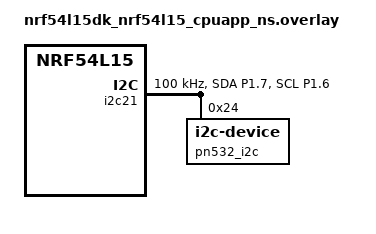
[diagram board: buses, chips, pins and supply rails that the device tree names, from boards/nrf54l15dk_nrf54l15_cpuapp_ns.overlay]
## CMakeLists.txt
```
cmake_minimum_required(VERSION 3.20.0)

# Use J-Link for flashing by default to avoid nrfutil-device runtime crash
# seen on some Windows setups with the nRF54L15 DK.
set(BOARD_FLASH_RUNNER jlink)

# Register project-local board root so west finds boards/.
list(APPEND BOARD_ROOT ${CMAKE_CURRENT_SOURCE_DIR})

find_package(Zephyr REQUIRED HINTS $ENV{ZEPHYR_BASE})

project(BLE-NFC-EMULATOR LANGUAGES C CXX)

# Enforce C++11 for all C++ sources.
set(CMAKE_CXX_STANDARD 11)
set(CMAKE_CXX_STANDARD_REQUIRED ON)

# ---- Sources -----------------------------------------------------------------
target_sources(app PRIVATE
  src/main.cpp
  src/zbus_channels.c
)

# Application + middleware pipeline (tag manager, BLE peripheral).
if(CONFIG_INCLUDE_APP_PIPELINE)
  target_sources(app PRIVATE
    src/modules/app/tag_manager.cpp
  )

  if(CONFIG_BT)
    target_sources(app PRIVATE
      src/modules/middleware/ble_peripheral.cpp
    )
  endif()
endif()

# PN532 NFC reader driver.
if(CONFIG_NFC_PN532)
  target_sources(app PRIVATE src/modules/drivers/pn532/nfc_reader_pn532.cpp)
endif()

# Optional bring-up helpers.
if(CONFIG_NFC_TEST_OBSERVER)
  target_sources(app PRIVATE src/modules/app/nfc_event_probe.cpp)
endif()

if(CONFIG_I2C_SCANNER_ON_BOOT)
  target_sources(app PRIVATE src/modules/app/i2c_scanner.cpp)
endif()

# Allow #include paths relative to src/.
target_include_directories(app PRIVATE src)
```

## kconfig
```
source "Kconfig.zephyr"

menu "BLE & NFC Emulator Application"

choice ENV_MODE
	prompt "BLE & NFC Emulator environment mode"
	default ENV_NFC_PN532
	help
	  Select which NFC source is compiled into the firmware.

config ENV_NFC_PN532
	bool "PN532 NFC environment"
	depends on I2C
	help
	  Use PN532 NFC publisher over I2C.

endchoice

config NFC_PN532
	bool
	default y if ENV_NFC_PN532
	help
	  Internal selector for compiling the PN532 NFC source.

config INCLUDE_APP_PIPELINE
	bool "Build application + middleware pipeline"
	default y
	help
	  Compiles tag_manager (app) and ble_peripheral (middleware, when CONFIG_BT=y).
	  Disable for driver-only / bring-up builds (e.g. prj-pn532.conf).

config PN532_POLL_PERIOD_MS
	int "PN532 polling period (ms)"
	depends on NFC_PN532
	range 20 2000
	default 120
	help
	  Delay between PN532 polling rounds.

config PN532_PUBLISH_TIMEOUT_MS
	int "PN532 zbus publish timeout (ms)"
	depends on NFC_PN532
	range 10 1000
	default 100
	help
	  Timeout used by zbus_chan_pub when sending nfc_events.

config PN532_DETECT_STREAK
	int "PN532 detect debounce samples"
	depends on NFC_PN532
	range 1 10
	default 2
	help
	  Consecutive successful UID polls required before publishing a tag
	  detected event.

config PN532_REMOVE_STREAK
	int "PN532 remove debounce samples"
	depends on NFC_PN532
	range 1 20
	default 3
	help
	  Consecutive no-tag polls required before publishing a tag removed event.

config NFC_TEST_OBSERVER
	bool "Enable NFC test observer logs"
	depends on NFC_PN532
	default n
	help
	  Adds a Zbus subscriber thread that logs compact nfc_events telemetry
	  (detect/remove, UID length, timestamp delta, UID bytes). Use during
	  NFC bring-up; disable for normal app runs.

config STRICT_UID_VERIFY
	bool "Strict UID verification in Tag Manager"
	depends on INCLUDE_APP_PIPELINE
	default n
	help
	  If enabled, Tag Manager verifies the NFC UID against TARGET_UID.
	  If disabled, any detected non-empty UID is treated as verified.

config I2C_SCANNER_ON_BOOT
	bool "Run one-shot I2C scanner during boot"
	depends on I2C
	default n
	help
	  Runs a one-shot address scanner on the configured I2C bus at startup.
	  Useful for bring-up validation on isolated test environments.

endmenu
```

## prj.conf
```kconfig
# ==============================================================================
# Full Application Profile — BLE + Zbus pipeline + PN532 NFC + RTT console
# ==============================================================================

# ------------------------------------------------------------------------------
# 1. System & Console Logging
# ------------------------------------------------------------------------------
CONFIG_LOG=y
CONFIG_LOG_DEFAULT_LEVEL=3
CONFIG_PRINTK=y
CONFIG_CBPRINTF_FP_SUPPORT=y

# RTT console (SWD is the only bridged debug interface on the DK).
CONFIG_USE_SEGGER_RTT=y
CONFIG_RTT_CONSOLE=y
CONFIG_UART_CONSOLE=n
CONFIG_LOG_BACKEND_RTT=y
CONFIG_LOG_BACKEND_UART=n
CONFIG_SEGGER_RTT_BUFFER_SIZE_UP=4096

# ------------------------------------------------------------------------------
# 2. Zbus (Event Bus)
# ------------------------------------------------------------------------------
CONFIG_ZBUS=y
CONFIG_ZBUS_LOG_LEVEL_INF=y
# Required for ZBUS_CHAN_ADD_OBS (runtime observer registration).
CONFIG_ZBUS_RUNTIME_OBSERVERS=y

# ------------------------------------------------------------------------------
# 3. Bluetooth Low Energy (BLE)
# ------------------------------------------------------------------------------
CONFIG_BT=y
CONFIG_BT_PERIPHERAL=y
CONFIG_BT_DEVICE_NAME="ble-nfc-emulator"
CONFIG_BT_MAX_CONN=1
CONFIG_BT_GATT_DYNAMIC_DB=y

# ------------------------------------------------------------------------------
# 4. NFC (PN532 over I²C)
# ------------------------------------------------------------------------------
CONFIG_ENV_NFC_PN532=y
CONFIG_I2C=y
CONFIG_I2C_NRFX_TRANSFER_TIMEOUT=10
CONFIG_GPIO=y

# ------------------------------------------------------------------------------
# 5. C++ Support
# ------------------------------------------------------------------------------
CONFIG_CPP=y
CONFIG_STD_CPP11=y
```

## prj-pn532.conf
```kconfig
# PN532 bring-up profile
CONFIG_ENV_NFC_PN532=y

# PN532 transport requirements
CONFIG_I2C=y
CONFIG_I2C_NRFX_TRANSFER_TIMEOUT=10
CONFIG_GPIO=y

# Zbus (event bus used by tag_manager / nfc_event_probe / pn532 reader)
CONFIG_ZBUS=y
CONFIG_ZBUS_RUNTIME_OBSERVERS=y

# C++ support (driver and app modules are .cpp)
CONFIG_CPP=y
CONFIG_STD_CPP11=y

# Logging — essential for bring-up on real hardware
CONFIG_LOG=y
CONFIG_LOG_DEFAULT_LEVEL=3
CONFIG_PRINTK=y
CONFIG_CBPRINTF_FP_SUPPORT=y

# Use RTT for console (SWD is the only bridged debug interface on this board).
# UART TX/RX on P1.08/P1.09 are defined in DTS but not wired to the debugger.
CONFIG_USE_SEGGER_RTT=y
CONFIG_RTT_CONSOLE=y
CONFIG_UART_CONSOLE=n
CONFIG_LOG_BACKEND_RTT=y
CONFIG_LOG_BACKEND_UART=n
CONFIG_SEGGER_RTT_BUFFER_SIZE_UP=4096

# Keep probe logs enabled in isolated mode
CONFIG_NFC_TEST_OBSERVER=y

# Run I2C scanner once at boot to confirm bus/address visibility.
CONFIG_I2C_SCANNER_ON_BOOT=y

# Keep runs responsive while still filtering poll jitter.
CONFIG_PN532_DETECT_STREAK=2
CONFIG_PN532_REMOVE_STREAK=3

# Disable unrelated external interfaces for cleaner bring-up logs
CONFIG_BT=n
```

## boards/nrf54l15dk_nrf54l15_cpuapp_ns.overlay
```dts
/*
 * PN532 I2C bring-up overlay for nRF54L15DK (cpuapp/ns).
 * Update pinctrl and bus instance to match your wiring.
 */

/ {
	aliases {
		i2c0 = &i2c21;
		pn532 = &pn532_i2c;
	};
};

&pinctrl {
	/*
	 * Default provisional mapping for PN532 I2C on DK.
	 * Adjust these pins to match your actual wiring.
	 */
	/omit-if-no-ref/ i2c21_pn532_default: i2c21_pn532_default {
		group1 {
			psels = <NRF_PSEL(TWIM_SDA, 1, 7)>,
				<NRF_PSEL(TWIM_SCL, 1, 6)>;
			bias-pull-up;
		};
	};

	/omit-if-no-ref/ i2c21_pn532_sleep: i2c21_pn532_sleep {
		group1 {
			psels = <NRF_PSEL(TWIM_SDA, 1, 7)>,
				<NRF_PSEL(TWIM_SCL, 1, 6)>;
			low-power-enable;
		};
	};
};

/*
 * TODO: adjust the bus instance (&i2c21) and pinctrl configuration according
 * to the exact DK header pins used for SDA/SCL.
 */
&i2c21 {
	compatible = "nordic,nrf-twim";
	status = "okay";
	clock-frequency = <I2C_BITRATE_STANDARD>;
	pinctrl-0 = <&i2c21_pn532_default>;
	pinctrl-1 = <&i2c21_pn532_sleep>;
	pinctrl-names = "default", "sleep";

	pn532_i2c: pn532@24 {
		compatible = "zephyr,i2c-device";
		reg = <0x24>;
		status = "okay";
	};
};
```

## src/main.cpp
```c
#include <zephyr/kernel.h>
#include <zephyr/logging/log.h>
#include <zephyr/version.h>

LOG_MODULE_REGISTER(main, CONFIG_LOG_DEFAULT_LEVEL);

int main(void)
{
	LOG_INF("=== BLE & NFC Emulator Firmware ===");
	LOG_INF("Board : %s", CONFIG_BOARD);
	LOG_INF("Zephyr: %s", KERNEL_VERSION_STRING);

	return 0;
}
```

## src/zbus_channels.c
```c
/**
 * @file zbus_channels.c
 * @brief Zbus channel definitions for BLE & NFC Emulator.
 *
 * This file owns the ZBUS_CHAN_DEFINE calls.  It is intentionally kept as
 * plain C because the Zephyr Zbus macros use designated-initialiser syntax
 * that is only valid in C (not C++11).
 */

#include "zbus_messages.h"

/* -------------------------------------------------------------------------- */
/*  Channel Definitions                                                       */
/* -------------------------------------------------------------------------- */

/**
 * nfc_events channel — carries NFC tag detection events.
 * Initial value is all-zeros (no tag detected).
 */
ZBUS_CHAN_DEFINE(nfc_events,               /* channel name        */
		struct nfc_event_msg,      /* message type        */
		NULL,                      /* validator (none)    */
		NULL,                      /* user data (none)    */
		ZBUS_OBSERVERS_EMPTY,      /* no static observers */
		ZBUS_MSG_INIT(.tag_id = {0}, .tag_id_len = 0,
			      .detected = false, .timestamp_us = 0)
);

/**
 * ble_nfc_emulator_status channel — consolidated status for BLE transmission.
 * Updated by the Data Aggregator at ~1 Hz.
 */
ZBUS_CHAN_DEFINE(ble_nfc_emulator_status,           /* channel name        */
		struct ble_nfc_emulator_status_msg, /* message type       */
		NULL,                      /* validator (none)    */
		NULL,                      /* user data (none)    */
		ZBUS_OBSERVERS_EMPTY,      /* no static observers */
		ZBUS_MSG_INIT(.payload = {0})
);
```

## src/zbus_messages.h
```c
/**
 * @file zbus_messages.h
 * @brief Shared Zbus message types and channel declarations for BLE & NFC Emulator.
 *
 * Pure C so it can be included from both .c and .cpp files.
 * All ZBUS_CHAN_DEFINE calls live in zbus_channels.c.
 */

#ifndef ZBUS_MESSAGES_H_
#define ZBUS_MESSAGES_H_

#include <stdbool.h>
#include <stdint.h>
#include <zephyr/zbus/zbus.h>

#define BLE_NFC_EMULATOR_JSON_PAYLOAD_MAX_LEN 80

#ifdef __cplusplus
extern "C" {
#endif

/* -------------------------------------------------------------------------- */
/*  Message Structs                                                           */
/* -------------------------------------------------------------------------- */

/** NFC tag detection event. */
struct nfc_event_msg {
	uint8_t tag_id[7];     /**< Tag UID (up to 7 bytes, ISO 14443-A) */
	uint8_t tag_id_len;    /**< Actual length of tag_id */
	bool    detected;      /**< true = tag entered field, false = removed */
	int64_t timestamp_us;  /**< Kernel uptime in microseconds */
};

/** Consolidated system status for BLE transmission. */
struct ble_nfc_emulator_status_msg {
	char payload[BLE_NFC_EMULATOR_JSON_PAYLOAD_MAX_LEN]; /**< JSON status payload */
};

/* -------------------------------------------------------------------------- */
/*  Zbus Channel Declarations                                                 */
/* -------------------------------------------------------------------------- */

ZBUS_CHAN_DECLARE(nfc_events);
ZBUS_CHAN_DECLARE(ble_nfc_emulator_status);

#ifdef __cplusplus
}
#endif

#endif /* ZBUS_MESSAGES_H_ */
```
